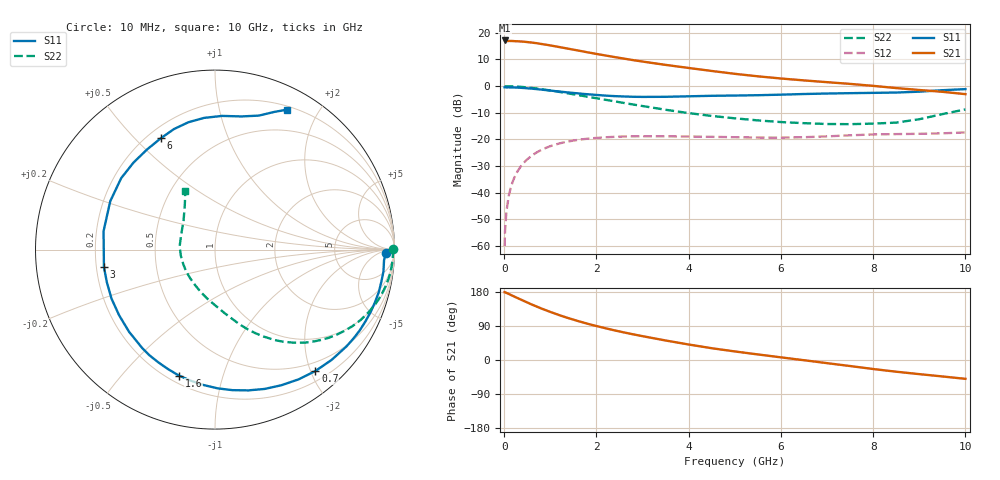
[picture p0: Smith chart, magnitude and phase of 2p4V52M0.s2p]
! (c) 2009  Infineon Technologies AG, Munich
! Infineon Technologies  Discrete & RF Semiconductors
! BFP420
! VCE =  4.5 V,  IC =  2.0 mA
! Common Emitter S-Parameters:  Nov 2009
# GHz  S  MA  R  50
!  f  S11  S21  S12  S22
! GHz  MAG  ANG  MAG  ANG  MAG  ANG  MAG  ANG
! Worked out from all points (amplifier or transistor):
!   46 points, 10 MHz to 10 GHz, reference 50 ohm
!   highest |S21| = 17.1 dB at 10 MHz (marker M1)
!   |S21| within 3 dB of that: start of sweep to 1.361 GHz
!   unconditionally stable (mu >= 1): 3.959 GHz to end of sweep
!   at 300 MHz: K = 0.07, MSG = 24.2 dB, |S12| = -31.7 dB
!   at 1.7 GHz: K = 0.34, MSG = 16.5 dB, |S12| = -19.9 dB
!   at 10 GHz: K = 1.22, MAG = 4.4 dB, |S12| = -17.4 dB
!   lowest NFmin = 0.53 dB at 900 MHz
!   S11 on the Smith chart (normalised r, x): 10 MHz: 35, -12; 700 MHz: 0.35, -2.08; 1.6 GHz: 0.24, -0.73; 3 GHz: 0.23, -0.07; 6 GHz: 0.25, +0.60; 10 GHz: 0.24, +1.61
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0.01  0.9501 -1.0  7.155 179.1  0.001 23.5  0.9917 0.1
0.02  0.9503 -1.5  6.94 179.0  0.002 63.6  0.9911 -0.7
0.05  0.9437 -3.6  6.97 177.0  0.0045 74.1  0.9916 -1.8
0.15  0.9439 -11.0  6.997 171.4  0.0131 80.2  0.9879 -5.8
0.4  0.9235 -29.2  6.804 157.4  0.0343 72.2  0.9602 -15.2
0.6  0.8944 -43.4  6.526 146.4  0.0498 64.8  0.9235 -22.3
0.7  0.8777 -50.4  6.367 141.3  0.0568 61.0  0.9011 -25.8
0.9  0.8414 -63.9  5.975 131.5  0.0692 54.1  0.8527 -32.0
1.1  0.806 -76.7  5.574 122.6  0.0797 47.8  0.8018 -37.8
1.3  0.7732 -88.9  5.181 114.2  0.0883 42.0  0.7507 -43.0
1.6  0.7301 -106.0  4.639 102.8  0.098 34.3  0.6778 -49.9
1.7  0.7152 -111.5  4.475 99.4  0.1008 32.0  0.6552 -51.9
2  0.6821 -126.5  4.002 89.7  0.1068 25.7  0.5922 -57.5
2.4  0.6475 -145.6  3.488 78.0  0.112 18.4  0.5161 -64.3
3  0.6265 -171.0  2.879 62.9  0.1146 9.8  0.4227 -73.3
3.5  0.6293 170.6  2.494 51.5  0.1143 4.3  0.3601 -81.1
4.5  0.657 142.7  1.918 31.1  0.1119 -3.0  0.2756 -99.2
5.5  0.6742 124.2  1.523 14.7  0.1084 -6.6  0.2274 -118.9
6  0.69 115.9  1.386 7.0  0.108 -7.0  0.2117 -130.4
7  0.7249 101.8  1.183 -8.3  0.1141 -7.9  0.1945 -155.2
8.5  0.7561 78.9  0.917 -30.9  0.1259 -14.9  0.2067 155.5
10  0.8763 62.8  0.706 -49.7  0.1353 -19.3  0.3656 116.9
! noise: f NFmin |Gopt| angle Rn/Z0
0.9  0.53  0.47  33  0.22
1.8  1.03  0.29  77  0.17
2.4  1.13  0.31  102  0.16
3  1.32  0.31  136  0.12
4  1.57  0.37  -168  0.1
5  1.96  0.42  -129  0.28
6  2.72  0.51  -111  0.37
